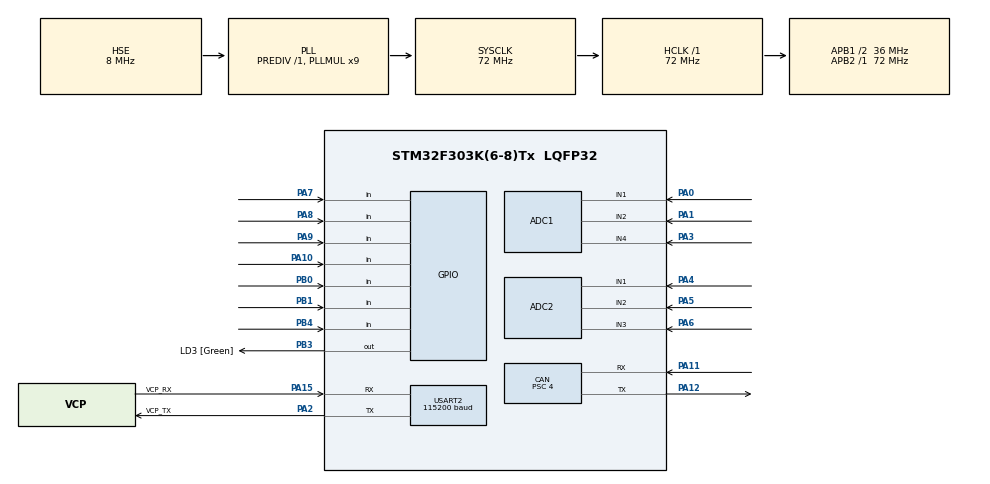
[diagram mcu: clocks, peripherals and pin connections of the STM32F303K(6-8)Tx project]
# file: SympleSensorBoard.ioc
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ADC1.Channel-0\#ChannelRegularConversion=ADC_CHANNEL_1
ADC1.Channel-1\#ChannelRegularConversion=ADC_CHANNEL_2
ADC1.Channel-2\#ChannelRegularConversion=ADC_CHANNEL_4
ADC1.ClockPrescaler=ADC_CLOCK_SYNC_PCLK_DIV4
ADC1.ContinuousConvMode=ENABLE
ADC1.DMAContinuousRequests=ENABLE
ADC1.DiscontinuousConvMode=DISABLE
ADC1.NbrOfConversion=3
ADC1.NbrOfConversionFlag=1
ADC1.Offset-0\#ChannelRegularConversion=0
ADC1.Offset-1\#ChannelRegularConversion=0
ADC1.Offset-2\#ChannelRegularConversion=0
ADC1.OffsetNumber-0\#ChannelRegularConversion=ADC_OFFSET_NONE
ADC1.OffsetNumber-1\#ChannelRegularConversion=ADC_OFFSET_NONE
ADC1.OffsetNumber-2\#ChannelRegularConversion=ADC_OFFSET_NONE
ADC1.Rank-0\#ChannelRegularConversion=1
ADC1.Rank-1\#ChannelRegularConversion=2
ADC1.Rank-2\#ChannelRegularConversion=3
ADC1.SamplingTime-0\#ChannelRegularConversion=ADC_SAMPLETIME_181CYCLES_5
ADC1.SamplingTime-1\#ChannelRegularConversion=ADC_SAMPLETIME_181CYCLES_5
ADC1.SamplingTime-2\#ChannelRegularConversion=ADC_SAMPLETIME_181CYCLES_5
ADC1.SubFamily=STM32F303x8
ADC1.master=1
ADC2.Channel-0\#ChannelRegularConversion=ADC_CHANNEL_1
ADC2.Channel-1\#ChannelRegularConversion=ADC_CHANNEL_2
ADC2.Channel-2\#ChannelRegularConversion=ADC_CHANNEL_3
ADC2.ClockPrescaler=ADC_CLOCK_SYNC_PCLK_DIV4
ADC2.ContinuousConvMode=ENABLE
ADC2.DMAContinuousRequests=ENABLE
ADC2.EnableAnalogWatchDog1=false
ADC2.NbrOfConversion=3
ADC2.NbrOfConversionFlag=1
ADC2.Offset-0\#ChannelRegularConversion=0
ADC2.Offset-1\#ChannelRegularConversion=0
ADC2.Offset-2\#ChannelRegularConversion=0
ADC2.OffsetNumber-0\#ChannelRegularConversion=ADC_OFFSET_NONE
ADC2.OffsetNumber-1\#ChannelRegularConversion=ADC_OFFSET_NONE
ADC2.OffsetNumber-2\#ChannelRegularConversion=ADC_OFFSET_NONE
ADC2.Rank-0\#ChannelRegularConversion=1
ADC2.Rank-1\#ChannelRegularConversion=2
ADC2.Rank-2\#ChannelRegularConversion=3
ADC2.SamplingTime-0\#ChannelRegularConversion=ADC_SAMPLETIME_181CYCLES_5
ADC2.SamplingTime-1\#ChannelRegularConversion=ADC_SAMPLETIME_181CYCLES_5
ADC2.SamplingTime-2\#ChannelRegularConversion=ADC_SAMPLETIME_181CYCLES_5
ADC2.SubFamily=STM32F303x8
CAN.ABOM=ENABLE
CAN.BS1=CAN_BS1_7TQ
CAN.CalculateTimeQuantum=111.11111111111111
CAN.Prescaler=4
CAN.SJW=CAN_SJW_2TQ
CAN.TXFP=ENABLE
Dma.ADC1.0.Direction=DMA_PERIPH_TO_MEMORY
Dma.ADC1.0.Instance=DMA1_Channel1
Dma.ADC1.0.MemDataAlignment=DMA_MDATAALIGN_HALFWORD
Dma.ADC1.0.MemInc=DMA_MINC_ENABLE
Dma.ADC1.0.Mode=DMA_CIRCULAR
Dma.ADC1.0.PeriphDataAlignment=DMA_PDATAALIGN_HALFWORD
Dma.ADC1.0.PeriphInc=DMA_PINC_DISABLE
Dma.ADC1.0.Priority=DMA_PRIORITY_LOW
Dma.ADC2.1.Direction=DMA_PERIPH_TO_MEMORY
Dma.ADC2.1.Instance=DMA1_Channel2
Dma.ADC2.1.MemDataAlignment=DMA_MDATAALIGN_HALFWORD
Dma.ADC2.1.MemInc=DMA_MINC_ENABLE
Dma.ADC2.1.Mode=DMA_CIRCULAR
Dma.ADC2.1.PeriphDataAlignment=DMA_PDATAALIGN_HALFWORD
Dma.ADC2.1.PeriphInc=DMA_PINC_DISABLE
Dma.ADC2.1.Priority=DMA_PRIORITY_LOW
Dma.Request0=ADC1
Dma.Request1=ADC2
Mcu.Family=STM32F3
Mcu.Name=STM32F303K(6-8)Tx
Mcu.Package=LQFP32
NVIC.CAN_RX0_IRQn=true\:0\:0\:false\:false\:true\:true\:true
NVIC.CAN_RX1_IRQn=true\:0\:0\:false\:false\:true\:true\:true
NVIC.DMA1_Channel1_IRQn=true\:0\:0\:false\:false\:true\:false\:true
NVIC.DMA1_Channel2_IRQn=true\:0\:0\:false\:false\:true\:false\:true
NVIC.PriorityGroup=NVIC_PRIORITYGROUP_4
NVIC.TIM6_DAC1_IRQn=true\:0\:0\:false\:false\:true\:true\:true
PA0.Mode=IN1-Single-Ended
PA0.Signal=ADC1_IN1
PA1.Mode=IN2-Single-Ended
PA1.Signal=ADC1_IN2
PA10.GPIO_PuPd=GPIO_PULLDOWN
PA10.Signal=GPIO_Input
PA11.Mode=Master
PA11.Signal=CAN_RX
PA12.Mode=Master
PA12.Signal=CAN_TX
PA13.GPIO_Label=SWDIO
PA13.Mode=Serial_Wire
PA13.Signal=SYS_JTMS-SWDIO
PA14.GPIO_Label=SWCLK
PA14.Mode=Serial_Wire
PA14.Signal=SYS_JTCK-SWCLK
PA15.GPIO_Label=VCP_RX
PA15.Mode=Asynchronous
PA15.Signal=USART2_RX
PA2.GPIO_Label=VCP_TX
PA2.Mode=Asynchronous
PA2.Signal=USART2_TX
PA3.Mode=IN4-Single-Ended
PA3.Signal=ADC1_IN4
PA4.Mode=IN1-Single-Ended
PA4.Signal=ADC2_IN1
PA5.Mode=IN2-Single-Ended
PA5.Signal=ADC2_IN2
PA6.Mode=IN3-Single-Ended
PA6.Signal=ADC2_IN3
PA7.GPIO_PuPd=GPIO_PULLDOWN
PA7.Signal=GPIO_Input
PA8.GPIO_PuPd=GPIO_PULLDOWN
PA8.Signal=GPIO_Input
PA9.GPIO_PuPd=GPIO_PULLDOWN
PA9.Signal=GPIO_Input
PB0.GPIO_PuPd=GPIO_PULLDOWN
PB0.Signal=GPIO_Input
PB1.GPIO_PuPd=GPIO_PULLDOWN
PB1.Signal=GPIO_Input
PB3.GPIO_Label=LD3 [Green]
PB3.Signal=GPIO_Output
PB4.GPIO_PuPd=GPIO_PULLDOWN
PB4.Signal=GPIO_Input
PF0\ /\ OSC_IN.Mode=HSE-External-Oscillator
PF0\ /\ OSC_IN.Signal=RCC_OSC_IN
PF1\ /\ OSC_OUT.Mode=HSE-External-Oscillator
PF1\ /\ OSC_OUT.Signal=RCC_OSC_OUT
ProjectManager.HeapSize=0x200
ProjectManager.StackSize=0x400
ProjectManager.TargetToolchain=STM32CubeIDE
RCC.AHBFreq_Value=72000000
RCC.APB1CLKDivider=RCC_HCLK_DIV2
RCC.APB1Freq_Value=36000000
RCC.APB1TimFreq_Value=72000000
RCC.APB2Freq_Value=72000000
RCC.APB2TimFreq_Value=72000000
RCC.CortexFreq_Value=72000000
RCC.HCLKFreq_Value=72000000
RCC.HSE_VALUE=8000000
RCC.HSI_VALUE=8000000
RCC.PLLMUL=RCC_PLL_MUL9
RCC.PLLSourceVirtual=RCC_PLLSOURCE_HSE
RCC.SYSCLKFreq_VALUE=72000000
RCC.SYSCLKSourceVirtual=RCC_SYSCLKSOURCE_PLLCLK
USART2.BaudRate=115200
USART2.VirtualMode-Asynchronous=VM_ASYNC
VP_TIM6_VS_ClockSourceINT.Mode=Enable_Timer
board=NUCLEO-F303K8

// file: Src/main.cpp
/* USER CODE BEGIN Header */
/**
  ******************************************************************************
  * @file           : main.c
  * @brief          : Main program body
  ******************************************************************************
  * @attention
  *
  * <h2><center>&copy; Copyright (c) 2019 STMicroelectronics.
  * All rights reserved.</center></h2>
  *
  * This software component is licensed by ST under BSD 3-Clause license,
  * the "License"; You may not use this file except in compliance with the
  * License. You may obtain a copy of the License at:
  *                        opensource.org/licenses/BSD-3-Clause
  *
  ******************************************************************************
  */
/* USER CODE END Header */

#include "main.h"
#include "adc.h"
#include "can.h"
#include "dma.h"
#include "tim.h"
#include "usart.h"
#include "gpio.h"

/* USER CODE BEGIN Includes */
#include "LowlayerHandel.hpp"
#include "Application/Application.hpp"
#include "InterruptIvent/TimerInterruptCallback.hpp"
#include "stdio.h"
#include "DefineLED.h"
/* USER CODE END Includes */

/* USER CODE BEGIN PD */
extern bool CanRxFlag;
extern bool IntFlag;
extern void FilterConfig();
/* USER CODE END PD */

/* USER CODE BEGIN PM */

//#define DEBUG
#define RUN

/* USER CODE END PM */

void SystemClock_Config(void);

int main(void)
{
  /* USER CODE BEGIN 1 */
  setbuf(stdout, NULL);
  /* USER CODE END 1 */

  /* MCU Configuration--------------------------------------------------------*/

  /* Reset of all peripherals, Initializes the Flash interface and the Systick. */
  HAL_Init();

  /* Configure the system clock */
  SystemClock_Config();

  /* Initialize all configured peripherals */
  MX_GPIO_Init();
  MX_DMA_Init();
  MX_ADC1_Init();
  MX_ADC2_Init();
  MX_CAN_Init();
  MX_USART2_UART_Init();
  MX_TIM6_Init();
  /* USER CODE BEGIN 2 */

  LowlayerHandelTypedef hlow;
  FilterConfig();
  hlow.ad1.Start();
  Timer1 LoopInt(&htim6);
  LoopInt.SetLoopTime(1);
  LoopInt.Start();
  App app(&hlow);
  /******************************************/
  /* USER CODE END 2 */

  /* Infinite loop */
  while (1)
  {

    /* USER CODE BEGIN 3 */
#ifdef RUN
    if(IntFlag)
    {
    	app.DivideData();
    	app.SendSensor();
    	app.SendMsSwitch();
    	IntFlag=false;
    }
#endif
#ifdef DEBUG
    hlow.DebugADC();
    //hlow.DebugSW();

#endif
  }
  /* USER CODE END 3 */
}

void SystemClock_Config(void)
{
  RCC_OscInitTypeDef RCC_OscInitStruct = {0};
  RCC_ClkInitTypeDef RCC_ClkInitStruct = {0};

  /** Initializes the CPU, AHB and APB busses clocks
  */
  RCC_OscInitStruct.OscillatorType = RCC_OSCILLATORTYPE_HSE;
  RCC_OscInitStruct.HSEState = RCC_HSE_ON;
  RCC_OscInitStruct.HSEPredivValue = RCC_HSE_PREDIV_DIV1;
  RCC_OscInitStruct.HSIState = RCC_HSI_ON;
  RCC_OscInitStruct.PLL.PLLState = RCC_PLL_ON;
  RCC_OscInitStruct.PLL.PLLSource = RCC_PLLSOURCE_HSE;
  RCC_OscInitStruct.PLL.PLLMUL = RCC_PLL_MUL9;
  if (HAL_RCC_OscConfig(&RCC_OscInitStruct) != HAL_OK)
  {
    Error_Handler();
  }
  /** Initializes the CPU, AHB and APB busses clocks
  */
  RCC_ClkInitStruct.ClockType = RCC_CLOCKTYPE_HCLK | RCC_CLOCKTYPE_SYSCLK | RCC_CLOCKTYPE_PCLK1 | RCC_CLOCKTYPE_PCLK2;
  RCC_ClkInitStruct.SYSCLKSource = RCC_SYSCLKSOURCE_PLLCLK;
  RCC_ClkInitStruct.AHBCLKDivider = RCC_SYSCLK_DIV1;
  RCC_ClkInitStruct.APB1CLKDivider = RCC_HCLK_DIV2;
  RCC_ClkInitStruct.APB2CLKDivider = RCC_HCLK_DIV1;

  if (HAL_RCC_ClockConfig(&RCC_ClkInitStruct, FLASH_LATENCY_2) != HAL_OK)
  {
    Error_Handler();
  }
}

void Error_Handler(void)
{
}

/************************ (C) COPYRIGHT STMicroelectronics *****END OF FILE****/
